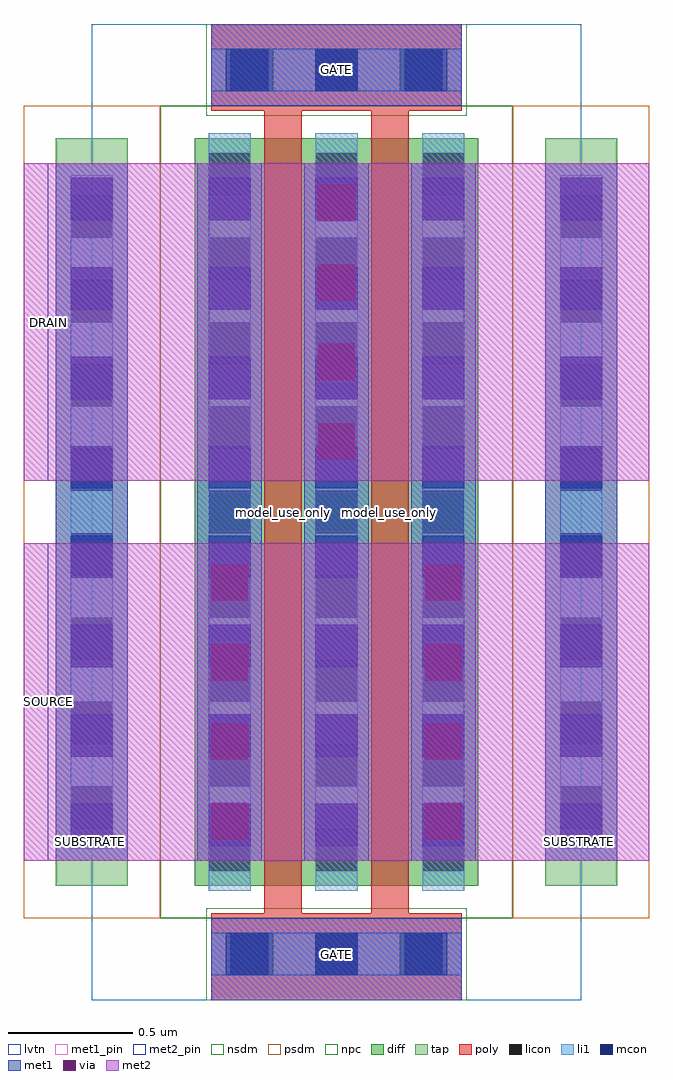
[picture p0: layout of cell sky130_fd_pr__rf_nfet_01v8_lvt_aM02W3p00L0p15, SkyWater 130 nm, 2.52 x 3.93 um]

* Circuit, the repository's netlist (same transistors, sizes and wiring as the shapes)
* Copyright 2020 The SkyWater PDK Authors
*
* Licensed under the Apache License, Version 2.0 (the "License");
* you may not use this file except in compliance with the License.
* You may obtain a copy of the License at
*
*     https://www.apache.org/licenses/LICENSE-2.0
*
* Unless required by applicable law or agreed to in writing, software
* distributed under the License is distributed on an "AS IS" BASIS,
* WITHOUT WARRANTIES OR CONDITIONS OF ANY KIND, either express or implied.
* See the License for the specific language governing permissions and
* limitations under the License.
*
* SPDX-License-Identifier: Apache-2.0


.subckt sky130_fd_pr__rf_nfet_01v8_lvt_aM02W3p00L0p15 DRAIN GATE SOURCE SUBSTRATE
X0 DRAIN GATE SOURCE SUBSTRATE sky130_fd_pr__nfet_01v8_lvt w=3.01e+06u l=150000u
X1 SOURCE GATE DRAIN SUBSTRATE sky130_fd_pr__nfet_01v8_lvt w=3.01e+06u l=150000u
.ends

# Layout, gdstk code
import gdstk
lib = gdstk.Library(unit=1e-6, precision=1e-09)
def R(c, l, rs):  # rectangles x0, y0, x1, y1
    for r in rs: c.add(gdstk.rectangle(r[:2], r[2:], *l))
def A(c, l, x, y, w, h, nx, ny, dx, dy):  # array of equal rectangles
    R(c, l, [(x+i*dx, y+j*dy, x+i*dx+w, y+j*dy+h) for i in range(nx) for j in range(ny)])
diff = (65, 20)
tap = (65, 44)
poly = (66, 20)
licon = (66, 44)
li1 = (67, 20)
mcon = (67, 44)
met1_pin = (68, 16)
met1 = (68, 20)
via = (68, 44)
met2_pin = (69, 16)
met2 = (69, 20)
nsdm = (93, 44)
psdm = (94, 20)
npc = (95, 20)
lvtn = (125, 44)

sky130_fd_pr__rf_nfet_01 = lib.new_cell('sky130_fd_pr__rf_nfet_01v8_lvt_aM02W3p00L0p15')
R(sky130_fd_pr__rf_nfet_01, diff, [(0.74,0.51,1.88,3.52)])
R(sky130_fd_pr__rf_nfet_01, tap, [(0.18,0.51,0.47,3.52), (2.15,0.51,2.44,3.52)])
R(sky130_fd_pr__rf_nfet_01, poly, [(0.805,0.05,1.815,0.4), (1.02,0.4,1.17,3.63), (1.45,0.4,1.6,3.63), (0.805,3.63,1.815,3.98)])
A(sky130_fd_pr__rf_nfet_01, licon, 0.885, 0.15, 0.17, 0.17, 3, 2, 0.34, 3.56)
A(sky130_fd_pr__rf_nfet_01, licon, 0.795, 0.57, 0.17, 0.17, 3, 9, 0.43, 0.34)
A(sky130_fd_pr__rf_nfet_01, licon, 0.24, 0.74, 0.17, 0.17, 1, 8, 0, 0.34)
A(sky130_fd_pr__rf_nfet_01, licon, 2.21, 0.74, 0.17, 0.17, 1, 8, 0, 0.34)
A(sky130_fd_pr__rf_nfet_01, li1, 0.795, 0.49, 0.17, 3.05, 3, 1, 0.43, 0)
A(sky130_fd_pr__rf_nfet_01, li1, 0.795, 0.67, 0.17, 2.69, 3, 1, 0.43, 0)
R(sky130_fd_pr__rf_nfet_01, li1, [(0.805,0.15,1.815,0.32), (0.865,0.15,1.755,0.32), (0.24,0.66,0.41,3.37), (2.21,0.66,2.38,3.37), (0.24,0.67,0.41,3.36), (2.21,0.67,2.38,3.36), (0.805,3.71,1.815,3.88), (0.865,3.71,1.755,3.88)])
A(sky130_fd_pr__rf_nfet_01, mcon, 0.865, 0.15, 0.17, 0.17, 3, 2, 0.36, 3.56)
A(sky130_fd_pr__rf_nfet_01, mcon, 0.24, 0.67, 0.17, 0.17, 1, 8, 0, 0.36)
A(sky130_fd_pr__rf_nfet_01, mcon, 0.795, 0.67, 0.17, 0.17, 3, 8, 0.43, 0.36)
A(sky130_fd_pr__rf_nfet_01, mcon, 2.21, 0.67, 0.17, 0.17, 1, 8, 0, 0.36)
R(sky130_fd_pr__rf_nfet_01, met1_pin, [(0.805,0.05,1.815,0.38), (0.18,0.61,0.47,0.69), (2.15,0.61,2.44,0.69), (0.805,3.65,1.815,3.98)])
A(sky130_fd_pr__rf_nfet_01, met1, 0.75, 0.61, 0.26, 2.81, 3, 1, 0.43, 0)
R(sky130_fd_pr__rf_nfet_01, met1, [(0.805,0.05,1.815,0.38), (0.18,0.61,0.47,3.42), (0.75,0.61,1.01,1.89), (1.61,0.61,1.87,1.89), (2.15,0.61,2.44,3.42), (1.18,2.14,1.44,3.42), (0.805,3.65,1.815,3.98)])
A(sky130_fd_pr__rf_nfet_01, via, 0.805, 0.695, 0.15, 0.15, 1, 4, 0, 0.32)
A(sky130_fd_pr__rf_nfet_01, via, 1.665, 0.695, 0.15, 0.15, 1, 4, 0, 0.32)
A(sky130_fd_pr__rf_nfet_01, via, 1.235, 2.225, 0.15, 0.15, 1, 4, 0, 0.32)
R(sky130_fd_pr__rf_nfet_01, met2_pin, [(0.05,0.61,0.15,1.89), (0.05,2.14,0.15,3.42)])
R(sky130_fd_pr__rf_nfet_01, met2, [(0.05,0.61,2.57,1.89), (0.75,0.61,1.01,1.89), (1.61,0.61,1.87,1.89), (0.05,2.14,2.57,3.42), (1.18,2.14,1.44,3.42)])
R(sky130_fd_pr__rf_nfet_01, nsdm, [(0.6,0.38,2.02,3.65)])
R(sky130_fd_pr__rf_nfet_01, psdm, [(0.05,0.38,0.6,3.65), (2.02,0.38,2.57,3.65)])
R(sky130_fd_pr__rf_nfet_01, npc, [(0.785,0.05,1.835,0.42), (0.785,3.61,1.835,3.98)])
R(sky130_fd_pr__rf_nfet_01, lvtn, [(0.325,0.05,2.295,3.98)])
sky130_fd_pr__rf_nfet_01.add(gdstk.Label('model_use_only', (1.095,2.015), layer=66, texttype=83))
sky130_fd_pr__rf_nfet_01.add(gdstk.Label('model_use_only', (1.525,2.015), layer=66, texttype=83))
sky130_fd_pr__rf_nfet_01.add(gdstk.Label('SOURCE', (0.15,1.25), layer=69, texttype=5))
sky130_fd_pr__rf_nfet_01.add(gdstk.Label('DRAIN', (0.15,2.78), layer=69, texttype=5))
sky130_fd_pr__rf_nfet_01.add(gdstk.Label('GATE', (1.31,0.235), layer=68, texttype=5))
sky130_fd_pr__rf_nfet_01.add(gdstk.Label('GATE', (1.31,3.795), layer=68, texttype=5))
sky130_fd_pr__rf_nfet_01.add(gdstk.Label('SUBSTRATE', (0.32,0.69), layer=68, texttype=5))
sky130_fd_pr__rf_nfet_01.add(gdstk.Label('SUBSTRATE', (2.29,0.69), layer=68, texttype=5))

lib.write_gds('sky130_fd_pr__rf_nfet_01v8_lvt_aM02W3p00L0p15.gds')
